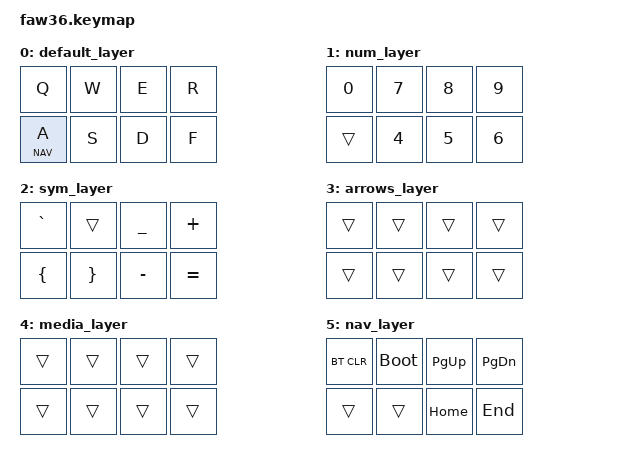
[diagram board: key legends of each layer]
/*
 * Copyright (c) 2020 The ZMK Contributors
 *
 * SPDX-License-Identifier: MIT
 */

#include <behaviors.dtsi>
#include <dt-bindings/zmk/keys.h>
#include <dt-bindings/zmk/bt.h>

#define QWERTY 0
#define NUM 1
#define SYM 2
#define ARROWS 3
#define MEDIA 4
#define NAV 5

&mt {
    tapping-term-ms = <300>;
    flavor = "tap-preferred";
};

/ {
    keymap {
        compatible = "zmk,keymap";

        default_layer {
/* Qwerty
 * ,----------------------------------.        ,----------------------------------.
 * |   Q  |   W  |   E  |   R  |   T  |        |   Y  |   U  |   I  |   O  |   P  |
 * |------+------+------+------+------|        |------+------+------+------+------|
 * |   A  |   S  |   D  |   F  |   G  |        |   H  |   J  |   K  |   L  |   ;  |
 * |------+------+------+------+------|        |------+------+------+------+------|
 * |   Z  |   X  |   C  |   V  |   B  |        |   N  |   M  |   ,  |   .  |   /  |
 * `-------------+------+------+------|        |------+------+------+-------------'
 *               |F_SYM |F_NUM | Space|        | Bspc |F_ARR |F_MED |
 *               `--------------------'        `--------------------'
 */
                        bindings = <
    &kp Q       &kp W       &kp E       &kp R       
    &lt NAV A   &kp S       &kp D       &kp F      
                >;
        };
        num_layer {
/* Numbers
 * ,----------------------------------.        ,----------------------------------.
 * |   0  |   7  |   8  |   9  |   *  |        |  F1  |  F2  |  F3  |  F4  |  F5  |
 * |------+------+------+------+------|        |------+------+------+------+------|
 * |      |   4  |   5  |   6  |   =  |        |  F6  |  F7  |  F8  |  F9  |  F10 |
 * |------+------+------+------+------|        |------+------+------+------+------|
 * |      |   1  |   2  |   3  |   -  |        |  F11 | AF12 |      |      |      |
 * `-------------+------+------+------|        |------+------+------+-------------'
 *               |   .  |      |      |        |      |      |      |
 *               `--------------------'        `--------------------'
*/
                        bindings = <
    &kp N0 &kp N7 &kp N8  &kp N9 
    &trans &kp N4 &kp N5  &kp N6 
                >;
        };
        sym_layer {
/* Symbols
 * ,----------------------------------.        ,----------------------------------.
 * |   `  |      |   _  |   +  |   \  |        |      |      |      |      |      |
 * |------+------+------+------+------|        |------+------+------+------+------|
 * |   {  |   }  |   -  |   =  |      |        |      |      |      |      |      |
 * |------+------+------+------+------|        |------+------+------+------+------|
 * |   [  |   ]  |   (  |   )  |      |        |      |      |      |      |      |
 * `-------------+------+------+------|        |------+------+------+-------------'
 *               |      |      |      |        |      |      |      |
 *               `--------------------'        `--------------------'
 */
                        bindings = <
    &kp GRAVE  &trans   &kp UNDER &kp PLUS  
    &kp LBRC   &kp RBRC &kp MINUS &kp EQUAL 
                >;
        };
        arrows_layer {
/* Arrows
 * ,----------------------------------.        ,----------------------------------.
 * |      |      |      |      |      |        |      |      |  Up  |      |      |
 * |------+------+------+------+------|        |------+------+------+------+------|
 * |      |      |      |      |      |        |      | Left | Down | Right|   '  |
 * |------+------+------+------+------|        |------+------+------+------+------|
 * |      |      |      |      |      |        |      |      |      |      |      |
 * `-------------+------+------+------|        |------+------+------+-------------'
 *               |      |      |      |        |      |      |      |
 *               `--------------------'        `--------------------'
 */
                        bindings = <
    &trans &trans &trans &trans 
    &trans &trans &trans &trans 
                >;
        };
        media_layer {
/* Media
 * ,----------------------------------.        ,----------------------------------.
 * |      |      |      |      |      |        |      |      |      |      |      |
 * |------+------+------+------+------|        |------+------+------+------+------|
 * |      |      |      |      |      |        |BT_CLR|      |PTrack| Vol+ |NTrack|
 * |------+------+------+------+------|        |------+------+------+------+------|
 * |      |      |      |      |      |        |      |      | Prev | Vol- | Next |
 * `-------------+------+------+------|        |------+------+------+-------------'
 *               |      |      |      |        | Play | Mute |      |
 *               `--------------------'        `--------------------'
 */
                        bindings = <
    &trans &trans &trans &trans 
    &trans &trans &trans &trans 
                >;
        };
        nav_layer {
/* Navigation
 * ,----------------------------------.        ,----------------------------------.
 * |BT_CLR| BOOT | PgUp | PgDn | Pscr |        |      |      |      |      |      |
 * |------+------+------+------+------|        |------+------+------+------+------|
 * |      |      | Home |  End | Paus |        |      |      |      |      |      |
 * |------+------+------+------+------|        |------+------+------+------+------|
 * |      |      | Ins  |  Del | Slck |        |      |      |      |      |      |
 * `-------------+------+------+------|        |------+------+------+-------------'
 *               |      |      |      |        |      |      |      |
 *               `--------------------'        `--------------------'
 */
                        bindings = <
    &bt BT_CLR &bootloader &kp PG_UP &kp PG_DN 
    &trans     &trans      &kp HOME  &kp END   
                >;
        };
    };
};
